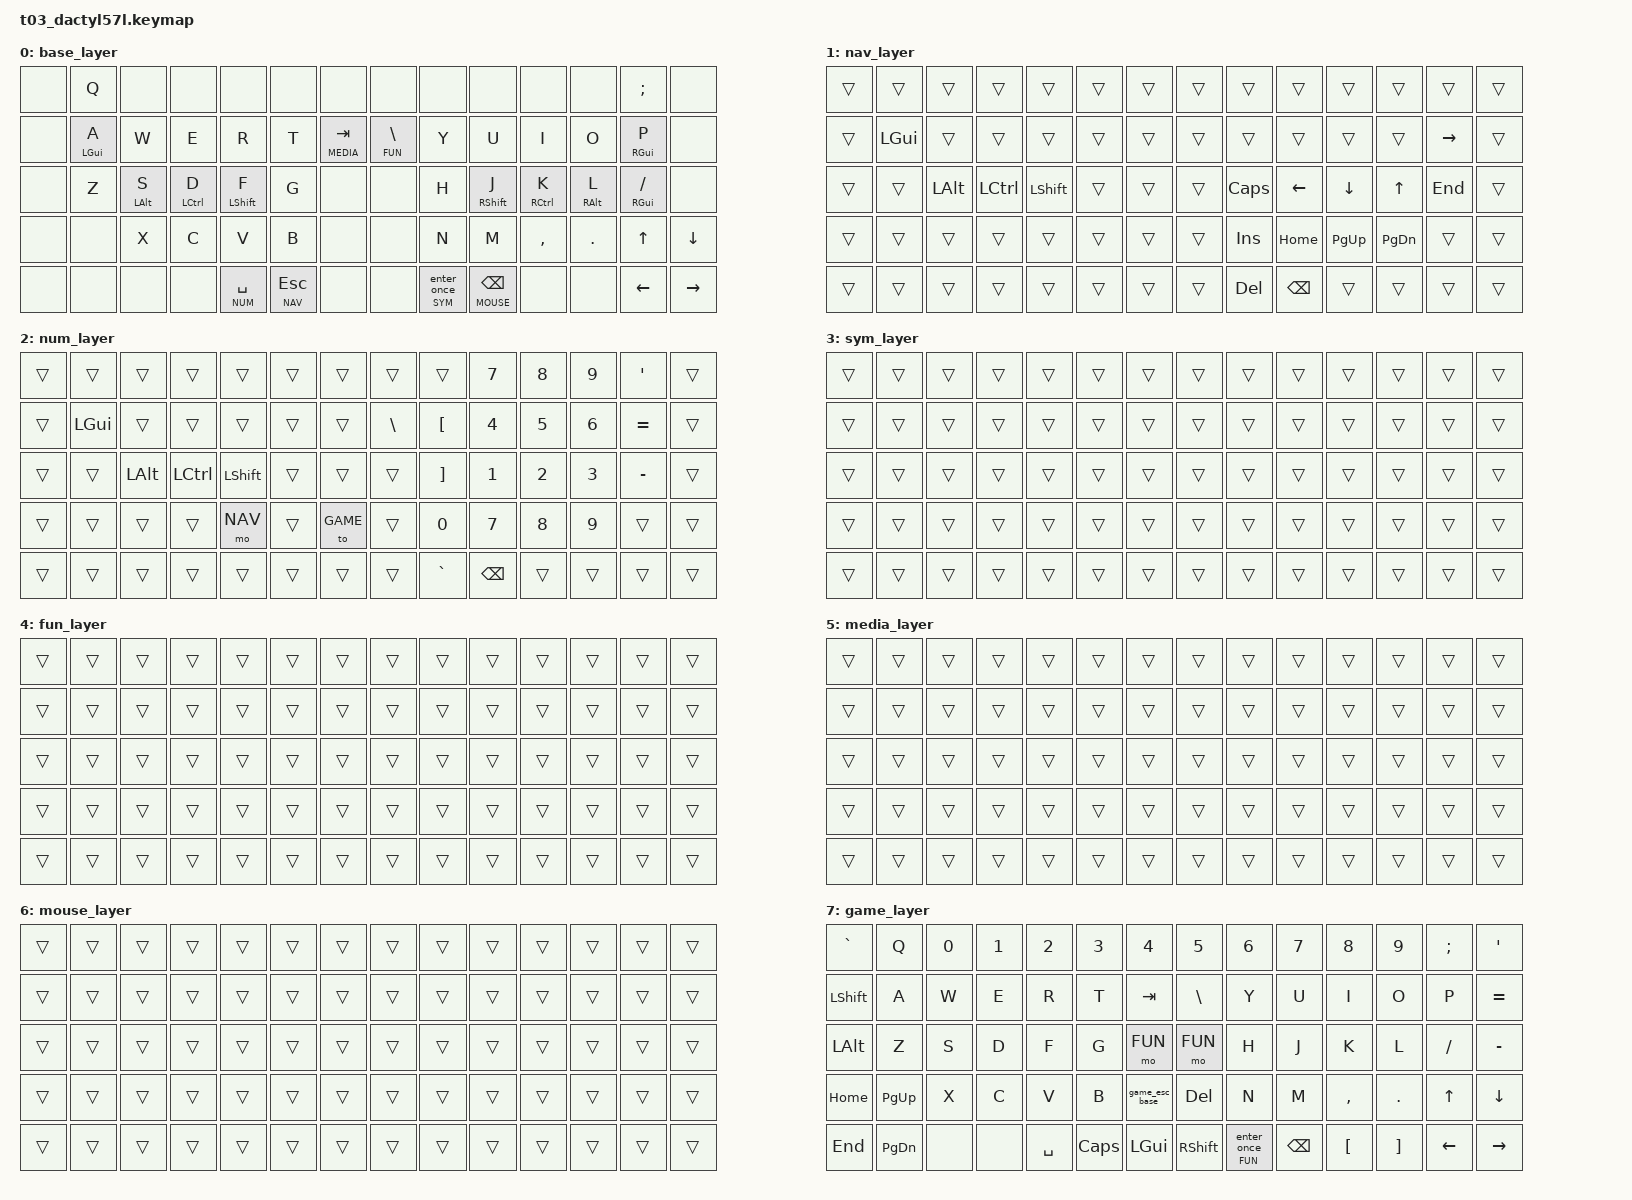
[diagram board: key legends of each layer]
#include <behaviors.dtsi>
#include <dt-bindings/zmk/keys.h>

#define BASE  0
#define NAV   1
#define NUM   2
#define SYM   3
#define FUN   4
#define MEDIA 5
#define MOUSE 6
#define GAME  7

/ {

    behaviors {
        /* Dedicated Enter: no quick-tap repeat or prior-idle tap forcing. */
        enter_lt: enter_layer_tap {
            compatible = "zmk,behavior-hold-tap";
            #binding-cells = <2>;
            flavor = "tap-preferred";
            tapping-term-ms = <300>;
            quick-tap-ms = <0>;
            require-prior-idle-ms = <0>;
            bindings = <&mo>, <&enter_once>;
        };

        /*
         * Home-row mods tuned for rolling typing.
         *
         * Key positions are numbered by the order in each layer's bindings.
         * Your keymap has 5 rows x 14 columns = 70 positions.
         *
         * hml = left-hand home-row mod: hold can be triggered only by right-hand positions.
         * hmr = right-hand home-row mod: hold can be triggered only by left-hand positions.
         */
        hml: home_row_mod_left {
            compatible = "zmk,behavior-hold-tap";
            #binding-cells = <2>;
            flavor = "balanced";
            tapping-term-ms = <320>;
            quick-tap-ms = <175>;
            require-prior-idle-ms = <150>;
            bindings = <&kp>, <&kp>;

            /* Right half: columns N07..N0D, K17..N1D, N27..N2D, N37..N3D, N47..N4D */
            hold-trigger-key-positions = <
                7 8 9 10 11 12 13
                21 22 23 24 25 26 27
                35 36 37 38 39 40 41
                49 50 51 52 53 54 55
                63 64 65 66 67 68 69
            >;
            hold-trigger-on-release;
        };

        hmr: home_row_mod_right {
            compatible = "zmk,behavior-hold-tap";
            #binding-cells = <2>;
            flavor = "balanced";
            tapping-term-ms = <320>;
            quick-tap-ms = <175>;
            require-prior-idle-ms = <150>;
            bindings = <&kp>, <&kp>;

            /* Left half: columns N00..N06, N10..K16, N20..N26, N30..N36, N40..N46 */
            hold-trigger-key-positions = <
                0 1 2 3 4 5 6
                14 15 16 17 18 19 20
                28 29 30 31 32 33 34
                42 43 44 45 46 47 48
                56 57 58 59 60 61 62
            >;
            hold-trigger-on-release;
        };
    };

    macros {
        /* A complete Enter pulse, independent of the physical key release. */
        enter_once: enter_once {
            compatible = "zmk,behavior-macro";
            #binding-cells = <0>;
            tap-ms = <40>;
            wait-ms = <10>;
            bindings = <&macro_tap &kp RET>;
        };

        game_esc_base: game_esc_base {
            compatible = "zmk,behavior-macro";
            #binding-cells = <0>;
            bindings = <&kp ESC &to BASE>;
        };
    };

    keymap {
        compatible = "zmk,keymap";

        base_layer {
            bindings = <
            // N00      K01            N02      N03      N04      N05      N06           N07          N08      N09      N0A      N0B      K0C       N0D
               &none    &kp Q          &none    &none    &none    &none    &none         &none        &none    &none    &none    &none    &kp SEMI  &none

            // N10      K11            K12      K13      K14      K15      K16           K17          K18      K19      K1A      K1B      K1C       N1D
               &none    &hml LGUI A           &kp W    &kp E    &kp R    &kp T    &lt MEDIA TAB &lt FUN BSLH &kp Y    &kp U    &kp I    &kp O    &hmr RGUI P &none

            // N20      K21            K22          K23           K24            K25      N26          N27          K28      K29            K2A           K2B          K2C             N2D
               &none    &kp Z     &hml LALT S   &hml LCTRL D   &hml LSHIFT F   &kp G    &none        &none        &kp H    &hmr RSHIFT J   &hmr RCTRL K   &hmr RALT L   &hmr RGUI FSLH   &none

            // N30      N31            K32      K33      K34      K35      N36           N37          K38      K39      K3A        K3B      N3C       N3D
               &none    &none          &kp X    &kp C    &kp V    &kp B    &none         &none        &kp N    &kp M    &kp COMMA  &kp DOT  &kp UP     &kp DOWN

            // N40      N41            N42      N43      K44             K45           N46          N47          K48           K49              N4A      N4B      N4C      N4D
               &none    &none          &none    &none    &lt NUM SPACE   &lt NAV ESC   &none        &none        &enter_lt SYM 0   &lt MOUSE BSPC   &none    &none    &kp LEFT    &kp RIGHT
            >;
        };

        nav_layer {
            bindings = <
            // N00      K01      N02      N03      N04      N05      N06          N07      N08      N09      N0A      N0B      K0C      N0D
               &trans   &trans   &trans   &trans   &trans   &trans   &trans      &trans   &trans   &trans   &trans   &trans   &trans   &trans

            // N10      K11        K12      K13      K14       K15      K16          K17      K18      K19      K1A      K1B      K1C      N1D
               &trans   &kp LGUI   &trans   &trans   &trans    &trans   &trans      &trans   &trans   &trans   &trans   &trans   &kp RIGHT   &trans

            // N20      K21      K22       K23        K24         K25      N26          N27      K28       K29       K2A       K2B       K2C       N2D
               &trans   &trans   &kp LALT  &kp LCTRL  &kp LSHIFT  &trans   &trans      &trans   &kp CAPS  &kp LEFT  &kp DOWN  &kp UP    &kp END &trans

            // N30      N31      K32      K33      K34      K35      N36          N37      K38      K39      K3A         K3B          K2C      N3D
               &trans   &trans   &trans   &trans   &trans   &trans   &trans      &trans   &kp INS  &kp HOME &kp PG_UP   &kp PG_DN    &trans  &trans

            // N40      N41      N42      N43      K44      K45      N46          N47      K48      K49      N4A      N4B      N4C      N4D
               &trans   &trans   &trans   &trans   &trans   &trans   &trans      &trans   &kp DEL  &kp BSPC &trans   &trans   &trans   &trans
            >;
        };

        num_layer {
            bindings = <
            // N00      K01      N02      N03      N04      N05      N06          N07      N08      N09      N0A      N0B      K0C       N0D
               &trans   &trans   &trans   &trans   &trans   &trans   &trans      &trans   &trans   &kp N7   &kp N8   &kp N9   &kp SQT   &trans

            // N10      K11        K12      K13      K14      K15      K16          K17      K18       K19      K1A      K1B      K1C        N1D
               &trans   &kp LGUI   &trans   &trans   &trans   &trans   &trans      &kp BSLH  &kp LBKT  &kp N4   &kp N5   &kp N6   &kp EQUAL  &trans

            // N20      K21      K22       K23        K24         K25      N26          N27      K28       K29      K2A      K2B      K2C        N2D
               &trans   &trans   &kp LALT  &kp LCTRL  &kp LSHIFT  &trans   &trans      &trans   &kp RBKT  &kp N1   &kp N2   &kp N3   &kp MINUS  &trans

            // N30      N31      K32      K33      K34       K35      N36          N37      K38      K39      K3A      K3B      N3C      N3D
               &trans   &trans   &trans   &trans   &mo NAV   &trans   &to GAME    &trans   &kp N0   &kp N7   &kp N8   &kp N9   &trans   &trans

            // N40      N41      N42      N43      K44      K45      N46          N47      K48       K49      N4A      N4B      N4C      N4D
               &trans   &trans   &trans   &trans   &trans   &trans   &trans      &trans   &kp GRAVE &kp BSPC &trans   &trans   &trans   &trans
            >;
        };

        sym_layer {
            bindings = <
               &trans   &trans   &trans   &trans   &trans   &trans   &trans      &trans   &trans   &trans   &trans   &trans   &trans   &trans
               &trans   &trans   &trans   &trans   &trans   &trans   &trans      &trans   &trans   &trans   &trans   &trans   &trans   &trans
               &trans   &trans   &trans   &trans   &trans   &trans   &trans      &trans   &trans   &trans   &trans   &trans   &trans   &trans
               &trans   &trans   &trans   &trans   &trans   &trans   &trans      &trans   &trans   &trans   &trans   &trans   &trans   &trans
               &trans   &trans   &trans   &trans   &trans   &trans   &trans      &trans   &trans   &trans   &trans   &trans   &trans   &trans
            >;
        };

        fun_layer {
            bindings = <
               &trans   &trans   &trans   &trans   &trans   &trans   &trans      &trans   &trans   &trans   &trans   &trans   &trans   &trans
               &trans   &trans   &trans   &trans   &trans   &trans   &trans      &trans   &trans   &trans   &trans   &trans   &trans   &trans
               &trans   &trans   &trans   &trans   &trans   &trans   &trans      &trans   &trans   &trans   &trans   &trans   &trans   &trans
               &trans   &trans   &trans   &trans   &trans   &trans   &trans      &trans   &trans   &trans   &trans   &trans   &trans   &trans
               &trans   &trans   &trans   &trans   &trans   &trans   &trans      &trans   &trans   &trans   &trans   &trans   &trans   &trans
            >;
        };

        media_layer {
            bindings = <
               &trans   &trans   &trans   &trans   &trans   &trans   &trans      &trans   &trans   &trans   &trans   &trans   &trans   &trans
               &trans   &trans   &trans   &trans   &trans   &trans   &trans      &trans   &trans   &trans   &trans   &trans   &trans   &trans
               &trans   &trans   &trans   &trans   &trans   &trans   &trans      &trans   &trans   &trans   &trans   &trans   &trans   &trans
               &trans   &trans   &trans   &trans   &trans   &trans   &trans      &trans   &trans   &trans   &trans   &trans   &trans   &trans
               &trans   &trans   &trans   &trans   &trans   &trans   &trans      &trans   &trans   &trans   &trans   &trans   &trans   &trans
            >;
        };

        mouse_layer {
            bindings = <
               &trans   &trans   &trans   &trans   &trans   &trans   &trans      &trans   &trans   &trans   &trans   &trans   &trans   &trans
               &trans   &trans   &trans   &trans   &trans   &trans   &trans      &trans   &trans   &trans   &trans   &trans   &trans   &trans
               &trans   &trans   &trans   &trans   &trans   &trans   &trans      &trans   &trans   &trans   &trans   &trans   &trans   &trans
               &trans   &trans   &trans   &trans   &trans   &trans   &trans      &trans   &trans   &trans   &trans   &trans   &trans   &trans
               &trans   &trans   &trans   &trans   &trans   &trans   &trans      &trans   &trans   &trans   &trans   &trans   &trans   &trans
            >;
        };

        game_layer {
            bindings = <
            // N00      N01      N02      N03      N04      N05      N06          N07      N08      N09      N0A      N0B      N0C      N0D
               &kp GRAVE   &kp Q      &kp N0   &kp N1   &kp N2   &kp N3   &kp N4        &kp N5    &kp N6   &kp N7   &kp N8   &kp N9   &kp SEMI  &kp SQT

            // N10      N11      N12      N13      N14      N15      N16          N17      N18      N19      N1A      N1B      N1C      N1D
               &kp LSHIFT  &kp A      &kp W    &kp E    &kp R    &kp T    &kp TAB       &kp BSLH  &kp Y    &kp U    &kp I    &kp O    &kp P     &kp EQUAL

            // N20      N21      N22      N23      N24      N25      N26          N27      N28      N29      N2A      N2B      N2C      N2D
               &kp LALT    &kp Z      &kp S    &kp D    &kp F    &kp G    &mo FUN       &mo FUN   &kp H    &kp J    &kp K    &kp L    &kp FSLH  &kp MINUS

            // N30      N31      N32      N33      N34      N35      N36          N37      N38      N39      N3A      N3B      N3C      N3D
               &kp HOME    &kp PG_UP  &kp X    &kp C    &kp V    &kp B    &game_esc_base &kp DEL  &kp N    &kp M    &kp COMMA &kp DOT  &kp UP    &kp DOWN

            // N40      N41      N42      N43      N44      N45      N46          N47      N48      N49      N4A      N4B      N4C      N4D
               &kp END     &kp PG_DN  &none    &none    &kp SPACE &kp CAPS &kp LGUI      &kp RSHIFT &enter_lt FUN 0 &kp BSPC &kp LBKT &kp RBKT &kp LEFT  &kp RIGHT
            >;
        };
    };
};
